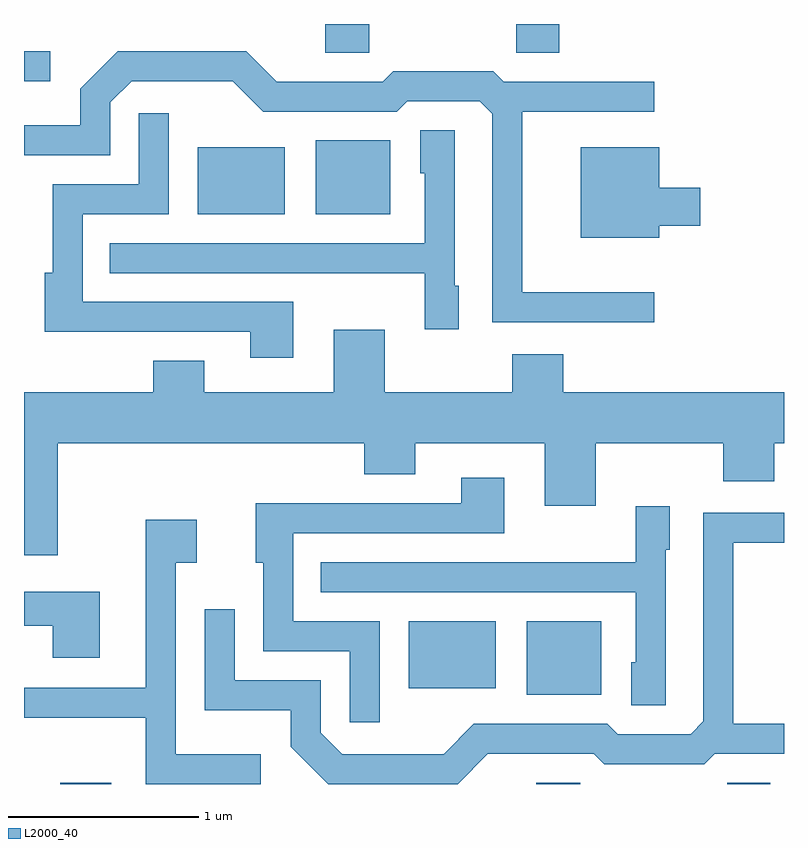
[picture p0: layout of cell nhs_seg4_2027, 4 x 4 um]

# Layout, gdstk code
import gdstk
lib = gdstk.Library(unit=1e-6, precision=1e-09)
def R(c, l, rs):  # rectangles x0, y0, x1, y1
    for r in rs: c.add(gdstk.rectangle(r[:2], r[2:], *l))
def P(c, l, *ps):  # polygons
    for p in ps: c.add(gdstk.Polygon(p, *l))
L2000_40 = (2000, 40)

nhs_seg4_2027 = lib.new_cell('nhs_seg4_2027')
R(nhs_seg4_2027, L2000_40, [(243.801,1363.982,244.069,1363.989), (246.306,1363.982,246.539,1363.989), (247.311,1363.982,247.539,1363.989), (246.256,1364.451,246.649,1364.839), (245.636,1364.486,246.094,1364.839), (244.526,1366.981,244.984,1367.334), (245.146,1366.981,245.539,1367.369), (243.611,1367.681,243.748,1367.839), (245.196,1367.831,245.429,1367.982), (246.201,1367.831,246.429,1367.982)])
P(nhs_seg4_2027, L2000_40, [(246.928,1366.569),(246.234,1366.569),(246.234,1367.521),(246.928,1367.521),(246.928,1367.679),(246.137,1367.679),(246.082,1367.734),(245.554,1367.734),(245.499,1367.679),(244.942,1367.679),(244.782,1367.839),(244.104,1367.839),(243.906,1367.642),(243.906,1367.449),(243.611,1367.449),(243.611,1367.291),(244.064,1367.291),(244.064,1367.569),(244.177,1367.681),(244.709,1367.681),(244.869,1367.521),(245.572,1367.521),(245.627,1367.576),(246.009,1367.576),(246.076,1367.509),(246.076,1366.411),(246.928,1366.411)],
  [(245.029,1366.519),(243.919,1366.519),(243.919,1366.981),(244.374,1366.981),(244.374,1367.513),(244.216,1367.513),(244.216,1367.139),(243.761,1367.139),(243.761,1366.674),(243.721,1366.674),(243.721,1366.361),(244.801,1366.361),(244.801,1366.226),(245.029,1366.226)],
  [(245.899,1366.604),(245.879,1366.604),(245.879,1367.424),(245.696,1367.424),(245.696,1367.196),(245.721,1367.196),(245.721,1366.829),(244.063,1366.829),(244.063,1366.671),(245.721,1366.671),(245.721,1366.376),(245.899,1366.376)],
  [(246.954,1366.921),(247.169,1366.921),(247.169,1367.119),(246.954,1367.119),(246.954,1367.334),(246.541,1367.334),(246.541,1366.856),(246.954,1366.856)],
  [(243.789,1365.776),(245.401,1365.776),(245.401,1365.611),(245.669,1365.611),(245.669,1365.776),(246.351,1365.776),(246.351,1365.446),(246.619,1365.446),(246.619,1365.776),(247.291,1365.776),(247.291,1365.576),(247.559,1365.576),(247.559,1365.776),(247.611,1365.776),(247.611,1366.044),(246.449,1366.044),(246.449,1366.244),(246.181,1366.244),(246.181,1366.044),(245.509,1366.044),(245.509,1366.374),(245.241,1366.374),(245.241,1366.044),(244.559,1366.044),(244.559,1366.209),(244.291,1366.209),(244.291,1366.044),(243.611,1366.044),(243.611,1365.186),(243.789,1365.186)],
  [(245.484,1364.839),(245.029,1364.839),(245.029,1365.301),(246.139,1365.301),(246.139,1365.594),(245.911,1365.594),(245.911,1365.459),(244.831,1365.459),(244.831,1365.146),(244.871,1365.146),(244.871,1364.681),(245.326,1364.681),(245.326,1364.308),(245.484,1364.308)],
  [(246.989,1365.216),(247.009,1365.216),(247.009,1365.444),(246.831,1365.444),(246.831,1365.149),(245.173,1365.149),(245.173,1364.991),(246.831,1364.991),(246.831,1364.624),(246.806,1364.624),(246.806,1364.396),(246.989,1364.396)],
  [(246.052,1364.141),(246.609,1364.141),(246.664,1364.086),(247.192,1364.086),(247.247,1364.141),(247.611,1364.141),(247.611,1364.299),(247.344,1364.299),(247.344,1365.251),(247.611,1365.251),(247.611,1365.409),(247.186,1365.409),(247.186,1364.312),(247.119,1364.244),(246.737,1364.244),(246.682,1364.299),(245.979,1364.299),(245.819,1364.139),(245.287,1364.139),(245.174,1364.252),(245.174,1364.529),(244.719,1364.529),(244.719,1364.903),(244.561,1364.903),(244.561,1364.371),(245.016,1364.371),(245.016,1364.179),(245.213,1363.982),(245.893,1363.982)],
  [(244.858,1364.139),(244.409,1364.139),(244.409,1365.146),(244.519,1365.146),(244.519,1365.374),(244.251,1365.374),(244.251,1364.489),(243.611,1364.489),(243.611,1364.331),(244.251,1364.331),(244.251,1363.982),(244.858,1363.982)],
  [(244.009,1364.994),(243.611,1364.994),(243.611,1364.816),(243.761,1364.816),(243.761,1364.646),(244.009,1364.646)])

lib.write_gds('nhs_seg4_2027.gds')
